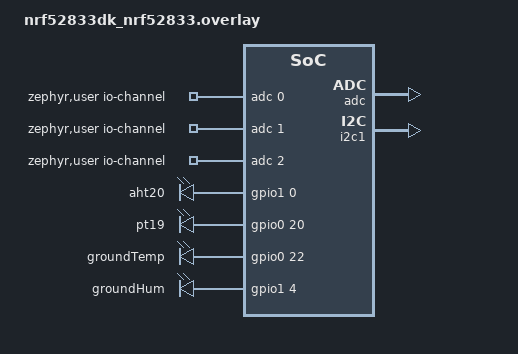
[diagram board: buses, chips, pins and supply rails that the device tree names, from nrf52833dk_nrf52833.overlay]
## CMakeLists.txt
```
# SPDX-License-Identifier: Apache-2.0
# Nils Lahaye 2023

cmake_minimum_required(VERSION 3.20.0)

# Required files

find_package(Zephyr REQUIRED HINTS $ENV{ZEPHYR_BASE})
project(Sensor-reader)

# Add util source file
SET(UTILS_H
    src/utils.h
    )
SET(UTILS_C
    src/utils.c
    )

# Add drivers source files
SET(DRIVERS_H
    src/drivers/aht20.h
    src/drivers/adc.h
    )
SET(DRIVERS_C
    src/drivers/aht20.c
    src/drivers/adc.c
    )


# Add sources as target
target_sources(app PRIVATE ${UTILS_H} ${UTILS_C})
target_sources(app PRIVATE ${DRIVERS_H} ${DRIVERS_C})
target_sources(app PRIVATE src/main.c)
```

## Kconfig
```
################################################################################
# Zephyr OS

source "Kconfig.zephyr"

################################################################################
# Main module

menu "Main module"

########################################
# MAIN Logging

choice MAIN_LOG_LEVEL_CHOICE
    prompt "Log level"
    depends on LOG
    default MAIN_LOG_LEVEL_INF
    help
        Message severity threshold for logging. This option controls which
        severities of messages are displayed and which ones are suppressed.
        Messages can have 4 severity levels - debug, info, warning, and error -
        in that order of increasing severity. Messages below the configured
        severity threshold are suppressed.

config MAIN_LOG_LEVEL_OFF
    bool "Off"
    help
        Do not log messages. No messages are displayed. Messages of all severity
        levels are suppressed.

config MAIN_LOG_LEVEL_ERR
    bool "Error"
    help
        Log up to error messages. Error messages are displayed. Warning, info,
        and debug messages are suppressed.

config MAIN_LOG_LEVEL_WRN
    bool "Warning"
    help
        Log up to warning messages. Error and warning messages are displayed.
        Info and debug messages are suppressed.

config MAIN_LOG_LEVEL_INF
    bool "Info"
    help
        Log up to info messages. Error, warning, and info messages are
        displayed. Debug messages are suppressed.

config MAIN_LOG_LEVEL_DBG
    bool "Debug"
    help
        Log up to debug messages. Messages of all severity levels are displayed.
        No messages are suppressed.

endchoice

config MAIN_LOG_LEVEL
    int
    depends on LOG
    default 0 if MAIN_LOG_LEVEL_OFF
    default 1 if MAIN_LOG_LEVEL_ERR
    default 2 if MAIN_LOG_LEVEL_WRN
    default 3 if MAIN_LOG_LEVEL_INF
    default 4 if MAIN_LOG_LEVEL_DBG

endmenu

################################################################################
# AHT20 module

menu "AHT20 module"

########################################
# AHT20 Logging

choice AHT20_LOG_LEVEL_CHOICE
    prompt "Log level"
    depends on LOG
    default AHT20_LOG_LEVEL_INF
    help
        Message severity threshold for logging. This option controls which
        severities of messages are displayed and which ones are suppressed.
        Messages can have 4 severity levels - debug, info, warning, and error -
        in that order of increasing severity. Messages below the configured
        severity threshold are suppressed.

config AHT20_LOG_LEVEL_OFF
    bool "Off"
    help
        Do not log messages. No messages are displayed. Messages of all severity
        levels are suppressed.

config AHT20_LOG_LEVEL_ERR
    bool "Error"
    help
        Log up to error messages. Error messages are displayed. Warning, info,
        and debug messages are suppressed.

config AHT20_LOG_LEVEL_WRN
    bool "Warning"
    help
        Log up to warning messages. Error and warning messages are displayed.
        Info and debug messages are suppressed.

config AHT20_LOG_LEVEL_INF
    bool "Info"
    help
        Log up to info messages. Error, warning, and info messages are
        displayed. Debug messages are suppressed.

config AHT20_LOG_LEVEL_DBG
    bool "Debug"
    help
        Log up to debug messages. Messages of all severity levels are displayed.
        No messages are suppressed.

endchoice

config AHT20_LOG_LEVEL
    int
    depends on LOG
    default 0 if AHT20_LOG_LEVEL_OFF
    default 1 if AHT20_LOG_LEVEL_ERR
    default 2 if AHT20_LOG_LEVEL_WRN
    default 3 if AHT20_LOG_LEVEL_INF
    default 4 if AHT20_LOG_LEVEL_DBG

endmenu

################################################################################
# ADC module

menu "ADC module"

########################################
# ADC Logging

choice ADC_LOG_LEVEL_CHOICE
    prompt "Log level"
    depends on LOG
    default ADC_LOG_LEVEL_INF
    help
        Message severity threshold for logging. This option controls which
        severities of messages are displayed and which ones are suppressed.
        Messages can have 4 severity levels - debug, info, warning, and error -
        in that order of increasing severity. Messages below the configured
        severity threshold are suppressed.

config ADC_LOG_LEVEL_OFF
    bool "Off"
    help
        Do not log messages. No messages are displayed. Messages of all severity
        levels are suppressed.

config ADC_LOG_LEVEL_ERR
    bool "Error"
    help
        Log up to error messages. Error messages are displayed. Warning, info,
        and debug messages are suppressed.

config ADC_LOG_LEVEL_WRN
    bool "Warning"
    help
        Log up to warning messages. Error and warning messages are displayed.
        Info and debug messages are suppressed.

config ADC_LOG_LEVEL_INF
    bool "Info"
    help
        Log up to info messages. Error, warning, and info messages are
        displayed. Debug messages are suppressed.

config ADC_LOG_LEVEL_DBG
    bool "Debug"
    help
        Log up to debug messages. Messages of all severity levels are displayed.
        No messages are suppressed.

endchoice

config ADC_LOG_LEVEL
    int
    depends on LOG
    default 0 if ADC_LOG_LEVEL_OFF
    default 1 if ADC_LOG_LEVEL_ERR
    default 2 if ADC_LOG_LEVEL_WRN
    default 3 if ADC_LOG_LEVEL_INF
    default 4 if ADC_LOG_LEVEL_DBG

endmenu

################################################################################
```

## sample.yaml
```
sample:
  description: This is a project to test the reading of multiple sensors
  name: Sensors Reader
common:
    tags: sensors
    harness: console
    harness_config:
      type: one_line
```

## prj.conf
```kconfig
# Enable ADC support #
CONFIG_ADC=y
CONFIG_ADC_ASYNC=y

# Enable GPIO support #
CONFIG_GPIO=y

# Enable i2c support #
CONFIG_I2C=y

# Enable support for log
CONFIG_NEWLIB_LIBC=y # TODO : optimize this

# Enable logging support #
CONFIG_LOG=y
CONFIG_LOG_DEFAULT_LEVEL=4
CONFIG_DEBUG_OPTIMIZATIONS=y
CONFIG_LOG_PRINTK=y
CONFIG_AHT20_LOG_LEVEL_ERR=y
CONFIG_ADC_LOG_LEVEL_ERR=y
```

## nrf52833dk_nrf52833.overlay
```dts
/* Mapping adc pins */
/ {
    zephyr,user {
        /*  Pins :     P0.02     P0.03     P0.04 */
        io-channels = <&adc 0>, <&adc 1>, <&adc 2>;
    };

    sensor-power{
        compatible = "gpio-leds"; /* TODO : find alternative ? */
        aht20: aht20 {
            gpios = <&gpio1 0 GPIO_ACTIVE_HIGH>;
            label = "aht20";
        };
        pt19: pt19 {
            gpios = <&gpio0 20 GPIO_ACTIVE_HIGH>;
            label = "pt19";
        };
        groundtemp: groundtemp {
            gpios = <&gpio0 22 GPIO_ACTIVE_HIGH>;
            label = "groundTemp";
        };
        groundhum: groundhum {
            gpios = <&gpio1 4 GPIO_ACTIVE_HIGH>;
            label = "groundHum";
        };
    };

    aliases {
        aht20 = &aht20;
        pt19 = &pt19;
        ground-temp = &groundtemp;
        ground-hum = &groundhum;
    };
};

/* Enable adc driver */
&adc {
    status = "okay";
    #address-cells = <1>;
    #size-cells = <0>;
};

/* Enable i2c driver */
&i2c1 {
    status = "okay";
};
```

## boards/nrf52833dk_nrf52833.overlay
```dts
/* Mapping adc pins */
/ {

    pt19: pt19 {
        compatible = "voltage-divider";
        io-channels = <&adc 0>;
        output-ohms = < 10000 >;
        power-gpios = < &gpio0 20 GPIO_ACTIVE_HIGH>;
    };

    ground_temperature: ground_temperature {
        compatible = "voltage-divider";
        io-channels = <&adc 1>;
        output-ohms = < 10000 >;
        power-gpios = < &gpio0 22 GPIO_ACTIVE_HIGH >;
    };

    ground_humidity: ground_humidity {
        compatible = "soil-humidity";
        io-channels = <&adc 2>;
        power-gpios = < &gpio1 4 GPIO_ACTIVE_HIGH >;
        dry = < 800 0 0 >;
        wet = < 2270 0 0 >;
    };

    battery_voltage: battery_voltage {
        compatible = "battery-voltage";
        io-channels = <&adc 4>;
    };

    /* Used for the real board */
    // leds{
    //     compatible = "gpio-leds";
    //     led1: led1 {
    //         label = "led1";
    //         gpios = <&gpio0 13 GPIO_ACTIVE_HIGH>;
    //     };
    // };

    // buttons {
    //     compatible = "gpio-keys";
    //     button1: button1 {
    //         label = "button1";
    //         gpios = <&gpio0 24 GPIO_ACTIVE_LOW>;
    //     };
    // };

    // aliases {
    //     button1 = &button1;
    //     led1 = &led1;
    // };
};

/* Enable adc driver */
&adc {
    status = "okay";
    #address-cells = <1>;
    #size-cells = <0>;
    // Luminoisty sensor
    channel@0 {
        reg = <0>;
        zephyr,gain = "ADC_GAIN_1";
        zephyr,reference = "ADC_REF_INTERNAL";
        zephyr,acquisition-time = <ADC_ACQ_TIME_DEFAULT>;
        zephyr,input-positive = < NRF_SAADC_AIN0 >; // P0.02
        zephyr,resolution = <10>;
        zephyr,oversampling = < 4 >;
    };

    // Ground temperature sensor
    channel@1 {
        reg = <1>;
        zephyr,gain = "ADC_GAIN_1_5";
        zephyr,reference = "ADC_REF_INTERNAL";
        zephyr,acquisition-time = <ADC_ACQ_TIME_DEFAULT>;
        zephyr,input-positive = < NRF_SAADC_AIN1 >; // P0.03
        zephyr,resolution = <10>;
        zephyr,oversampling = < 4 >;
    };

    // Ground humidity sensor
    channel@2 {
        reg = <2>;
        zephyr,gain = "ADC_GAIN_1";
        zephyr,reference = "ADC_REF_INTERNAL";
        zephyr,acquisition-time = <ADC_ACQ_TIME_DEFAULT>;
        zephyr,input-positive = < NRF_SAADC_AIN2 >; // P0.04
        zephyr,resolution = <12>;
        zephyr,oversampling = < 4 >;
    };

    // Batterie voltage monitor
    channel@4 {
        reg = <4>;
        zephyr,gain = "ADC_GAIN_1_6";
        zephyr,reference = "ADC_REF_INTERNAL";
        zephyr,acquisition-time = <ADC_ACQ_TIME_DEFAULT>;
        zephyr,input-positive = < NRF_SAADC_VDD >; // VDD
        zephyr,resolution = <10>;
        zephyr,oversampling = <0>;
    };
};

/* Enable i2c driver */
&i2c1 {
    status = "okay";

    aht20: aht20@38{
        compatible = "i2c-device";
        reg = <0x38>;
        label = "AHT20";
    };
};

/* Deactivating some stuff */

&spi1 {
    status = "disabled";
};

&spi3 {
    status = "disabled";
};
```

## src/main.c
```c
/**
 * main.c
 * 
 * Main file of the project
 * 
 * Author: Nils Lahaye 2023
 * 
*/

#include <zephyr/kernel.h>
#include <zephyr/logging/log.h>
#include "drivers/adc.h"
#include "drivers/aht20.h"
#include "utils.h"

LOG_MODULE_REGISTER(MAIN, CONFIG_MAIN_LOG_LEVEL);

int ret;

void main(void)
{
	float temperature, humidity, luminosity, voltage;

	RET_IF_ERR(aht20_init(), "AHT20 init failed");

	RET_IF_ERR(adc_init(), "ADC init failed");

	while(1) {
		RET_IF_ERR(aht20_read(&temperature, &humidity), "AHT20 read failed");
		LOG_INF("Temperature: %d.%dC, Humidity: %d.%d%%", (int) temperature, (int) (temperature * 100) % 100, (int) humidity, (int) (humidity * 100) % 100);

		RET_IF_ERR(luminosity_read(&luminosity), "Luminosity read failed");
		LOG_INF("Luminosity: %d.%d%%", (int) luminosity, (int) (luminosity * 100) % 100);

		RET_IF_ERR(ground_temperature_read(&temperature), "Ground temperature read failed");
		LOG_INF("Temperature: %d.%dC", (int) temperature, (int) (temperature * 100) % 100);

		RET_IF_ERR(ground_humidity_read(&humidity), "Ground humidity read failed");
		LOG_INF("Humidity: %d.%d%%", (int) humidity, (int) (humidity * 100) % 100);

		RET_IF_ERR(battery_voltage_read(&voltage), "Batterie read failed");
		LOG_INF("Batterie: %d.%dV", (int) voltage, (int) (voltage * 100) % 100);

		k_sleep(K_MSEC(1000));
	}
}
```

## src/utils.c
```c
/**
 * utils.c
 * 
 * Utility functions
 * 
 * Author: Nils Lahaye 2023
 * 
*/
#include "utils.h"

/**
 * @brief Map a value from a range to another
 * 
 * @param value Value to map
 * @param inMin Minimum value of the input range
 * @param inMax Maximum value of the input range
 * @param outMin Minimum value of the output range
 * @param outMax Maximum value of the output range
 * 
 * @return The mapped value
*/
float mapRange(float value, float inMin, float inMax, float outMin, float outMax) {
    return (value - inMin) * (outMax - outMin) / (inMax - inMin) + outMin;
}
```

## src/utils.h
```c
/**
 * utils.h
 * 
 * Utility functions
 * 
 * Author: Nils Lahaye 2023
 * 
*/

#ifndef UTILS_H_
#define UTILS_H_

#include <math.h>

#define TO_STRING(x) #x
#define LOCATION __FILE__ ":" TO_STRING(__LINE__)

#define RET_IF_ERR(expr, msg)                                   \
    {                                                           \
        int ret = (expr);                                       \
        if(ret) {                                               \
            LOG_ERR("Error %d: " msg " in " LOCATION, ret);     \
            return ret;                                         \
        }                                                       \
    }

float mapRange(float value, float inMin, float inMax, float outMin, float outMax);

float evaluate_polynomial(float x, const int coefficients[3]);

#endif /* UTILS_H_ */
```
